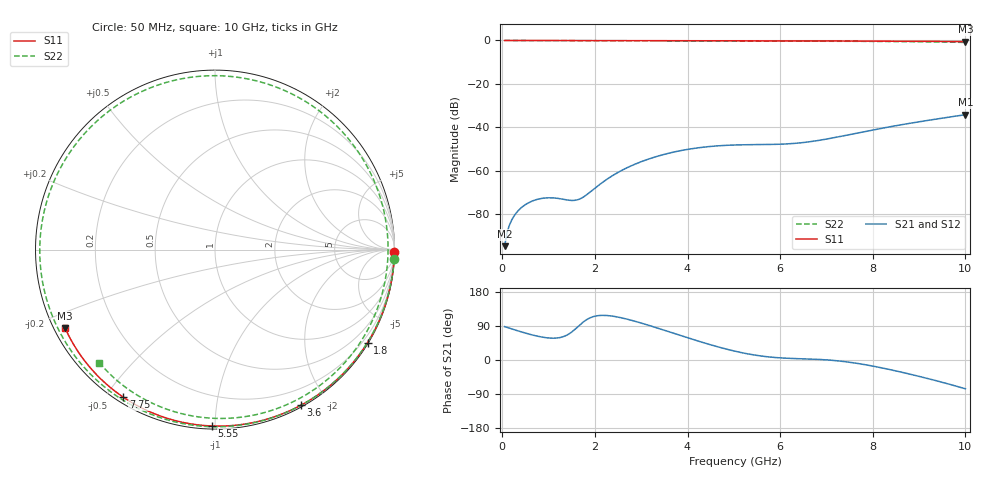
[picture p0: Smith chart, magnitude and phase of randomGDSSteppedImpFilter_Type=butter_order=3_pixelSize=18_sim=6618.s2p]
! freq	dB(S11)	phase(S11)	dB(S12)	phase(S12)
!  dB(S21)	phase(S21)	dB(S22)	phase(S22)
!S-par simulation data
#  GHz  S  DB  R 50
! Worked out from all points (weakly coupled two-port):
!   200 points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, 50 MHz to 10 GHz, reference 50 ohm
!   highest |S21| = -34.17 dB at 10 GHz (marker M1); lowest = -94.7 dB at 50 MHz (marker M2)
!   lowest |S11| = -0.5 dB at 10 GHz (marker M3), VSWR 33.98, Z = 1.56 - j12.3 ohm
!   |S11| at or under -10 dB: nowhere
!   |S22| runs from -0.9 to 0.0 dB; largest |S21 - S12| = 0
!   S11 on the Smith chart (normalised r, x): 50 MHz: open; 1.8 GHz: 0.03, -3.56; 3.6 GHz: 0.02, -1.69; 5.55 GHz: 0.02, -0.98; 7.75 GHz: 0.02, -0.56; 10 GHz: 0.03, -0.25
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0.05  -0.00 -0.9  -94.71 88.0  -94.71 88.0  -0.00 -3.1
0.25  -0.01 -4.4  -80.94 80.2  -80.94 80.2  -0.03 -15.6
0.5  -0.01 -8.8  -75.58 71.0  -75.58 71.0  -0.05 -31.1
0.95  -0.02 -16.7  -72.49 58.7  -72.49 58.7  -0.07 -58.6
1.35  -0.03 -23.7  -73.25 63.1  -73.25 63.1  -0.10 -82.6
1.75  -0.04 -30.5  -72.10 100.3  -72.10 100.3  -0.13 -106.2
1.8  -0.04 -31.4  -71.38 104.8  -71.38 104.8  -0.13 -109.1
2.25  -0.05 -39.0  -64.04 117.5  -64.04 117.5  -0.16 -135.1
2.65  -0.06 -45.7  -59.06 109.1  -59.06 109.1  -0.19 -158.0
3.05  -0.07 -52.3  -55.42 95.7  -55.42 95.7  -0.21 179.1
3.4  -0.08 -57.9  -53.01 82.4  -53.01 82.4  -0.22 158.9
3.6  -0.08 -61.1  -51.89 74.5  -51.89 74.5  -0.23 147.4
4  -0.09 -67.4  -50.16 58.8  -50.16 58.8  -0.25 124.3
4.35  -0.10 -72.9  -49.11 45.5  -49.11 45.5  -0.26 104.1
5.05  -0.13 -83.5  -48.11 22.5  -48.11 22.5  -0.29 64.5
5.55  -0.15 -90.9  -47.94 11.2  -47.94 11.2  -0.30 37.7
6.1  -0.18 -98.9  -47.68 4.9  -47.68 4.9  -0.31 10.3
6.7  -0.21 -107.3  -46.45 2.3  -46.45 2.3  -0.33 -16.8
7.75  -0.28 -121.8  -42.26 -10.6  -42.26 -10.6  -0.41 -58.0
8.35  -0.33 -130.0  -39.81 -24.8  -39.81 -24.8  -0.48 -78.9
9.2  -0.42 -141.5  -36.76 -49.3  -36.76 -49.3  -0.64 -107.2
10  -0.51 -152.3  -34.17 -75.9  -34.17 -75.9  -0.91 -135.6
